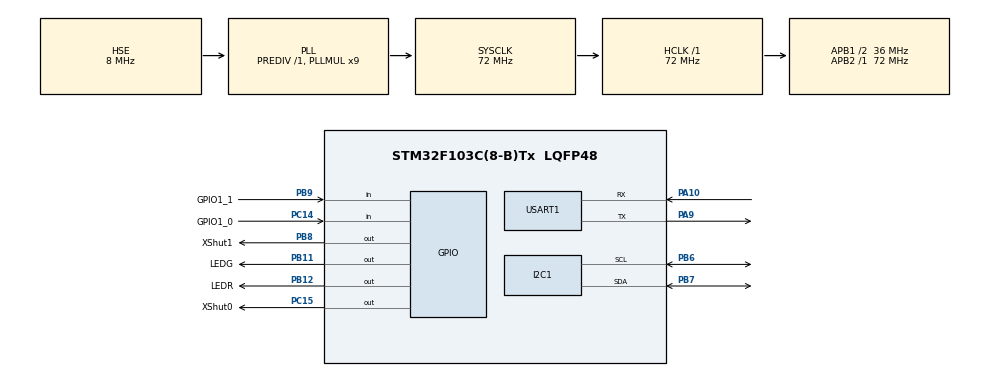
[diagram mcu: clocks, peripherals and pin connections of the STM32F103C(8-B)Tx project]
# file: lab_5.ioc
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I2C1.I2C_Mode=I2C_Standard
Mcu.Family=STM32F1
Mcu.Name=STM32F103C(8-B)Tx
Mcu.Package=LQFP48
NVIC.PriorityGroup=NVIC_PRIORITYGROUP_4
PA10.Mode=Asynchronous
PA10.Signal=USART1_RX
PA9.Mode=Asynchronous
PA9.Signal=USART1_TX
PB11.GPIO_Label=LEDG
PB11.GPIO_PuPd=GPIO_NOPULL
PB11.PinState=GPIO_PIN_SET
PB11.Signal=GPIO_Output
PB12.GPIO_Label=LEDR
PB12.GPIO_PuPd=GPIO_NOPULL
PB12.PinState=GPIO_PIN_SET
PB12.Signal=GPIO_Output
PB6.GPIO_Speed=GPIO_SPEED_FREQ_LOW
PB6.Mode=I2C
PB6.Signal=I2C1_SCL
PB7.GPIO_Speed=GPIO_SPEED_FREQ_LOW
PB7.Mode=I2C
PB7.Signal=I2C1_SDA
PB8.GPIO_Label=XShut1
PB8.Signal=GPIO_Output
PB9.GPIO_Label=GPIO1_1
PB9.Signal=GPIO_Input
PC14-OSC32_IN.GPIO_Label=GPIO1_0
PC14-OSC32_IN.Signal=GPIO_Input
PC15-OSC32_OUT.GPIO_Label=XShut0
PC15-OSC32_OUT.Signal=GPIO_Output
PD0-OSC_IN.Mode=HSE-External-Oscillator
PD0-OSC_IN.Signal=RCC_OSC_IN
PD1-OSC_OUT.Mode=HSE-External-Oscillator
PD1-OSC_OUT.Signal=RCC_OSC_OUT
ProjectManager.HeapSize=0x200
ProjectManager.StackSize=0x400
ProjectManager.TargetToolchain=STM32CubeIDE
RCC.AHBFreq_Value=72000000
RCC.APB1CLKDivider=RCC_HCLK_DIV2
RCC.APB1Freq_Value=36000000
RCC.APB1TimFreq_Value=72000000
RCC.APB2Freq_Value=72000000
RCC.APB2TimFreq_Value=72000000
RCC.HCLKFreq_Value=72000000
RCC.PLLMUL=RCC_PLL_MUL9
RCC.PLLSourceVirtual=RCC_PLLSOURCE_HSE
RCC.SYSCLKFreq_VALUE=72000000
RCC.SYSCLKSource=RCC_SYSCLKSOURCE_PLLCLK
RCC.USBFreq_Value=72000000
USART1.VirtualMode=VM_ASYNC
VP_SYS_VS_ND.Mode=No_Debug
board=custom

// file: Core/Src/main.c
/* USER CODE BEGIN Header */
/**
  ******************************************************************************
  * @file           : main.c
  * @brief          : Main program body
  ******************************************************************************
  * @attention
  *
  * Copyright (c) 2024 STMicroelectronics.
  * All rights reserved.
  *
  * This software is licensed under terms that can be found in the LICENSE file
  * in the root directory of this software component.
  * If no LICENSE file comes with this software, it is provided AS-IS.
  *
  ******************************************************************************
  */
/* USER CODE END Header */
#include "main.h"

/* USER CODE BEGIN Includes */
#include <string.h>
#include <stdbool.h>
#include <stdio.h>
/* USER CODE END Includes */

/* USER CODE BEGIN PD */
#define START_PAGE_ADRR 0x0801FC00
#define WORD_TO_BYTES 4
#define OFF_SET 3
#define PAGE_NUM_USE 1
#define VL53L1_0_ADDR 0x54
#define VL53L1_1_ADDR 0x56
/* USER CODE END PD */

I2C_HandleTypeDef hi2c1;

UART_HandleTypeDef huart1;

/* USER CODE BEGIN PV */
const char* write_data = "CEEC";
size_t data_len;
uint32_t read_data[50];
GPIO_HandlerStruct XShut0 = { .Pin = XShut0_Pin, .Port = XShut0_GPIO_Port };
GPIO_HandlerStruct XShut1 = { .Pin = XShut1_Pin, .Port = XShut1_GPIO_Port };
GPIO_HandlerStruct GPIO1_0 = { .Pin = GPIO1_0_Pin, .Port = GPIO1_0_GPIO_Port };
GPIO_HandlerStruct GPIO1_1 = { .Pin = GPIO1_1_Pin, .Port = GPIO1_1_GPIO_Port };
/* USER CODE END PV */

void SystemClock_Config(void);
static void MX_GPIO_Init(void);
static void MX_I2C1_Init(void);
static void MX_USART1_UART_Init(void);

/* USER CODE BEGIN 0 */
void FLASH_WritePage(void)
{
	data_len = strlen(write_data) + 1;
	HAL_FLASH_Unlock();
	FLASH_EraseInitTypeDef EraseInit =
			{
					.TypeErase = FLASH_TYPEERASE_PAGES,
					.PageAddress = START_PAGE_ADRR,
					.NbPages = PAGE_NUM_USE
			};
	uint32_t PageError = 0;
	HAL_FLASHEx_Erase(&EraseInit, &PageError);

	uint32_t data = 0;
	for(uint32_t position = 0; position < data_len; position += WORD_TO_BYTES)
	{
		data = 0;
		memcpy(&data, &write_data[position],
				(data_len - position >= WORD_TO_BYTES) ? WORD_TO_BYTES : (data_len - position));
		HAL_FLASH_Program(FLASH_TYPEPROGRAM_WORD, START_PAGE_ADRR + position, data);
	}
	HAL_FLASH_Lock();
}
void FLASH_ReadPage(void)
{
	uint32_t address = START_PAGE_ADRR;
	memset(read_data, 0, sizeof(read_data));

	for (uint32_t position = 0; position < data_len; position += WORD_TO_BYTES)
	{
	   read_data[position / WORD_TO_BYTES] = *(__IO uint32_t *)(address + position);
	}
}
bool FLASH_CompareData(void)
{
    char buffer[50] = {0};

    for (uint32_t position = 0; position < (data_len + OFF_SET) / WORD_TO_BYTES; position++)
    {
        memcpy(&buffer[position * WORD_TO_BYTES], &read_data[position], WORD_TO_BYTES);
    }

    return (strcmp(buffer, write_data) == 0);
}
/* USER CODE END 0 */

int main(void)
{

  /* MCU Configuration--------------------------------------------------------*/

  /* Reset of all peripherals, Initializes the Flash interface and the Systick. */
  HAL_Init();

  /* Configure the system clock */
  SystemClock_Config();

  /* Initialize all configured peripherals */
  MX_GPIO_Init();
  MX_I2C1_Init();
  MX_USART1_UART_Init();
  /* USER CODE BEGIN 2 */
  uint16_t Distance_0 = 0;
  uint16_t Distance_1 = 0;
  char Data[20];
  uint16_t Data_len;
  HAL_GPIO_WritePin(XShut0.Port, XShut0.Pin, 0);
  HAL_GPIO_WritePin(XShut1.Port, XShut1.Pin, 0);
  while(VL53L1__Init(VL53L1_1_ADDR, XShut1) != 0){}
  while(VL53L1__Init(VL53L1_0_ADDR, XShut0) != 0){}
  HAL_Delay(500);
  FLASH_WritePage();
  FLASH_ReadPage();
  if(FLASH_CompareData())
  {
	  HAL_GPIO_WritePin(LEDG_GPIO_Port, LEDG_Pin, 0);
  }
  else
  {
	  HAL_GPIO_WritePin(LEDR_GPIO_Port, LEDR_Pin, 0);
  }
  VL53L1X_StartRanging(VL53L1_0_ADDR);
  VL53L1X_StartRanging(VL53L1_1_ADDR);
  /* USER CODE END 2 */

  /* Infinite loop */
  /* USER CODE BEGIN WHILE */
  while (1)
  {
	  VL53L1__GetDistance(VL53L1_0_ADDR, GPIO1_0, &Distance_0);
	  VL53L1__GetDistance(VL53L1_1_ADDR, GPIO1_1, &Distance_1);
	  memset(Data, 0, sizeof(Data));
	  Data_len = sprintf(Data, "\n\r%u %u", Distance_0, Distance_1);
	  HAL_UART_Transmit(&huart1, (uint8_t*)Data, Data_len, 100);
	  HAL_Delay(100);
    /* USER CODE END WHILE */

  }
}

void SystemClock_Config(void)
{
  RCC_OscInitTypeDef RCC_OscInitStruct = {0};
  RCC_ClkInitTypeDef RCC_ClkInitStruct = {0};

  /** Initializes the RCC Oscillators according to the specified parameters
  * in the RCC_OscInitTypeDef structure.
  */
  RCC_OscInitStruct.OscillatorType = RCC_OSCILLATORTYPE_HSE;
  RCC_OscInitStruct.HSEState = RCC_HSE_ON;
  RCC_OscInitStruct.HSEPredivValue = RCC_HSE_PREDIV_DIV1;
  RCC_OscInitStruct.HSIState = RCC_HSI_ON;
  RCC_OscInitStruct.PLL.PLLState = RCC_PLL_ON;
  RCC_OscInitStruct.PLL.PLLSource = RCC_PLLSOURCE_HSE;
  RCC_OscInitStruct.PLL.PLLMUL = RCC_PLL_MUL9;
  if (HAL_RCC_OscConfig(&RCC_OscInitStruct) != HAL_OK)
  {
    Error_Handler();
  }

  /** Initializes the CPU, AHB and APB buses clocks
  */
  RCC_ClkInitStruct.ClockType = RCC_CLOCKTYPE_HCLK|RCC_CLOCKTYPE_SYSCLK
                              |RCC_CLOCKTYPE_PCLK1|RCC_CLOCKTYPE_PCLK2;
  RCC_ClkInitStruct.SYSCLKSource = RCC_SYSCLKSOURCE_PLLCLK;
  RCC_ClkInitStruct.AHBCLKDivider = RCC_SYSCLK_DIV1;
  RCC_ClkInitStruct.APB1CLKDivider = RCC_HCLK_DIV2;
  RCC_ClkInitStruct.APB2CLKDivider = RCC_HCLK_DIV1;

  if (HAL_RCC_ClockConfig(&RCC_ClkInitStruct, FLASH_LATENCY_2) != HAL_OK)
  {
    Error_Handler();
  }
}

static void MX_I2C1_Init(void)
{

  hi2c1.Instance = I2C1;
  hi2c1.Init.ClockSpeed = 100000;
  hi2c1.Init.DutyCycle = I2C_DUTYCYCLE_2;
  hi2c1.Init.OwnAddress1 = 0;
  hi2c1.Init.AddressingMode = I2C_ADDRESSINGMODE_7BIT;
  hi2c1.Init.DualAddressMode = I2C_DUALADDRESS_DISABLE;
  hi2c1.Init.OwnAddress2 = 0;
  hi2c1.Init.GeneralCallMode = I2C_GENERALCALL_DISABLE;
  hi2c1.Init.NoStretchMode = I2C_NOSTRETCH_DISABLE;
  if (HAL_I2C_Init(&hi2c1) != HAL_OK)
  {
    Error_Handler();
  }

}

static void MX_USART1_UART_Init(void)
{

  huart1.Instance = USART1;
  huart1.Init.BaudRate = 115200;
  huart1.Init.WordLength = UART_WORDLENGTH_8B;
  huart1.Init.StopBits = UART_STOPBITS_1;
  huart1.Init.Parity = UART_PARITY_NONE;
  huart1.Init.Mode = UART_MODE_TX_RX;
  huart1.Init.HwFlowCtl = UART_HWCONTROL_NONE;
  huart1.Init.OverSampling = UART_OVERSAMPLING_16;
  if (HAL_UART_Init(&huart1) != HAL_OK)
  {
    Error_Handler();
  }

}

static void MX_GPIO_Init(void)
{
  GPIO_InitTypeDef GPIO_InitStruct = {0};

  /* GPIO Ports Clock Enable */
  __HAL_RCC_GPIOC_CLK_ENABLE();
  __HAL_RCC_GPIOD_CLK_ENABLE();
  __HAL_RCC_GPIOB_CLK_ENABLE();
  __HAL_RCC_GPIOA_CLK_ENABLE();

  /*Configure GPIO pin Output Level */
  HAL_GPIO_WritePin(XShut0_GPIO_Port, XShut0_Pin, GPIO_PIN_RESET);

  /*Configure GPIO pin Output Level */
  HAL_GPIO_WritePin(GPIOB, LEDG_Pin|LEDR_Pin, GPIO_PIN_SET);

  /*Configure GPIO pin Output Level */
  HAL_GPIO_WritePin(XShut1_GPIO_Port, XShut1_Pin, GPIO_PIN_RESET);

  /*Configure GPIO pin : GPIO1_0_Pin */
  GPIO_InitStruct.Pin = GPIO1_0_Pin;
  GPIO_InitStruct.Mode = GPIO_MODE_INPUT;
  GPIO_InitStruct.Pull = GPIO_NOPULL;
  HAL_GPIO_Init(GPIO1_0_GPIO_Port, &GPIO_InitStruct);

  /*Configure GPIO pin : XShut0_Pin */
  GPIO_InitStruct.Pin = XShut0_Pin;
  GPIO_InitStruct.Mode = GPIO_MODE_OUTPUT_PP;
  GPIO_InitStruct.Pull = GPIO_NOPULL;
  GPIO_InitStruct.Speed = GPIO_SPEED_FREQ_LOW;
  HAL_GPIO_Init(XShut0_GPIO_Port, &GPIO_InitStruct);

  /*Configure GPIO pins : LEDG_Pin LEDR_Pin XShut1_Pin */
  GPIO_InitStruct.Pin = LEDG_Pin|LEDR_Pin|XShut1_Pin;
  GPIO_InitStruct.Mode = GPIO_MODE_OUTPUT_PP;
  GPIO_InitStruct.Pull = GPIO_NOPULL;
  GPIO_InitStruct.Speed = GPIO_SPEED_FREQ_LOW;
  HAL_GPIO_Init(GPIOB, &GPIO_InitStruct);

  /*Configure GPIO pin : GPIO1_1_Pin */
  GPIO_InitStruct.Pin = GPIO1_1_Pin;
  GPIO_InitStruct.Mode = GPIO_MODE_INPUT;
  GPIO_InitStruct.Pull = GPIO_NOPULL;
  HAL_GPIO_Init(GPIO1_1_GPIO_Port, &GPIO_InitStruct);

}

void Error_Handler(void)
{
  __disable_irq();
  while (1)
  {
  }
}
